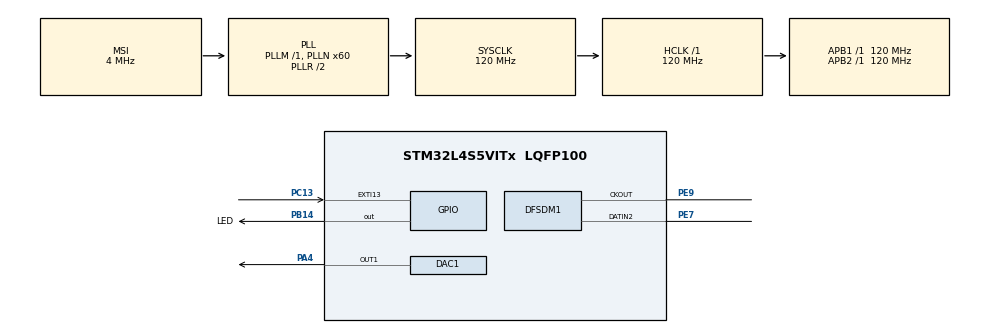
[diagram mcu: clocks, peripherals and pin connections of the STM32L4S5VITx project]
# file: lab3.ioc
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DAC1.DAC_Trigger-DAC_OUT1=DAC_TRIGGER_T2_TRGO
DFSDM1.Divider=50
DFSDM1.DmaMode_reg_FIL0=ENABLE
DFSDM1.FastMode_reg_FIL0=ENABLE
DFSDM1.Filter_regChannel_FIL0=DFSDM_CHANNEL_2
DFSDM1.Fosr_FIL0=120
Dma.DAC1_CH1.0.Direction=DMA_MEMORY_TO_PERIPH
Dma.DAC1_CH1.0.EventEnable=DISABLE
Dma.DAC1_CH1.0.Instance=DMA1_Channel1
Dma.DAC1_CH1.0.MemDataAlignment=DMA_MDATAALIGN_HALFWORD
Dma.DAC1_CH1.0.MemInc=DMA_MINC_ENABLE
Dma.DAC1_CH1.0.Mode=DMA_CIRCULAR
Dma.DAC1_CH1.0.PeriphDataAlignment=DMA_PDATAALIGN_HALFWORD
Dma.DAC1_CH1.0.PeriphInc=DMA_PINC_DISABLE
Dma.DAC1_CH1.0.Polarity=HAL_DMAMUX_REQUEST_GEN_RISING
Dma.DAC1_CH1.0.Priority=DMA_PRIORITY_LOW
Dma.DAC1_CH1.0.RequestNumber=1
Dma.DAC1_CH1.0.SignalID=NONE
Dma.DAC1_CH1.0.SyncEnable=DISABLE
Dma.DAC1_CH1.0.SyncPolarity=HAL_DMAMUX_SYNC_NO_EVENT
Dma.DAC1_CH1.0.SyncRequestNumber=1
Dma.DAC1_CH1.0.SyncSignalID=NONE
Dma.DFSDM1_FLT0.1.Direction=DMA_PERIPH_TO_MEMORY
Dma.DFSDM1_FLT0.1.EventEnable=DISABLE
Dma.DFSDM1_FLT0.1.Instance=DMA1_Channel2
Dma.DFSDM1_FLT0.1.MemDataAlignment=DMA_MDATAALIGN_WORD
Dma.DFSDM1_FLT0.1.MemInc=DMA_MINC_ENABLE
Dma.DFSDM1_FLT0.1.Mode=DMA_NORMAL
Dma.DFSDM1_FLT0.1.PeriphDataAlignment=DMA_PDATAALIGN_WORD
Dma.DFSDM1_FLT0.1.PeriphInc=DMA_PINC_DISABLE
Dma.DFSDM1_FLT0.1.Polarity=HAL_DMAMUX_REQUEST_GEN_RISING
Dma.DFSDM1_FLT0.1.Priority=DMA_PRIORITY_LOW
Dma.DFSDM1_FLT0.1.RequestNumber=1
Dma.DFSDM1_FLT0.1.SignalID=NONE
Dma.DFSDM1_FLT0.1.SyncEnable=DISABLE
Dma.DFSDM1_FLT0.1.SyncPolarity=HAL_DMAMUX_SYNC_NO_EVENT
Dma.DFSDM1_FLT0.1.SyncRequestNumber=1
Dma.DFSDM1_FLT0.1.SyncSignalID=NONE
Dma.Request0=DAC1_CH1
Dma.Request1=DFSDM1_FLT0
Mcu.Family=STM32L4
Mcu.Name=STM32L4S5VITx
Mcu.Package=LQFP100
NVIC.DMA1_Channel1_IRQn=true\:0\:0\:false\:false\:true\:false\:true\:true
NVIC.DMA1_Channel2_IRQn=true\:0\:0\:false\:false\:true\:false\:true\:true
NVIC.EXTI15_10_IRQn=true\:0\:0\:false\:false\:true\:true\:true\:true
NVIC.PriorityGroup=NVIC_PRIORITYGROUP_4
NVIC.TIM2_IRQn=true\:0\:0\:false\:false\:true\:true\:true\:true
NVIC.TIM3_IRQn=true\:0\:0\:false\:false\:true\:true\:true\:true
PA4.Signal=COMP_DAC11_group
PB14.GPIO_Label=LED
PB14.Signal=GPIO_Output
PB3\ (JTDO/TRACESWO).Signal=SYS_JTDO-SWO
PC13.Signal=GPXTI13
PE7.Signal=S_DATAIN2DFSDM1
PE9.Signal=S_CKOUTDFSDM1
ProjectManager.HeapSize=0x200
ProjectManager.StackSize=0x400
ProjectManager.TargetToolchain=STM32CubeIDE
RCC.ADCFreq_Value=48000000
RCC.AHBFreq_Value=120000000
RCC.APB1Freq_Value=120000000
RCC.APB1TimFreq_Value=120000000
RCC.APB2Freq_Value=120000000
RCC.APB2TimFreq_Value=120000000
RCC.CortexFreq_Value=120000000
RCC.HCLKFreq_Value=120000000
RCC.HSE_VALUE=8000000
RCC.HSI48_VALUE=48000000
RCC.HSI_VALUE=16000000
RCC.LSE_VALUE=32768
RCC.MSI_VALUE=4000000
RCC.PLLN=60
RCC.PLLSAI1N=24
RCC.SYSCLKFreq_VALUE=120000000
RCC.SYSCLKSource=RCC_SYSCLKSOURCE_PLLCLK
RCC.USBFreq_Value=48000000
RCC.VCOOutputFreq_Value=240000000
SH.COMP_DAC11_group.0=DAC1_OUT1,DAC_OUT1
SH.S_CKOUTDFSDM1.0=DFSDM1_CKOUT,PDM_SPI_input_from_ch2_and_internal_clock
SH.S_CKOUTDFSDM1.1=DFSDM1_CKOUT,CKOUT
SH.S_DATAIN2DFSDM1.0=DFSDM1_DATIN2,PDM_SPI_input_from_ch2_and_internal_clock
TIM2.Period=6000
TIM2.Prescaler=0
TIM2.TIM_MasterOutputTrigger=TIM_TRGO_UPDATE
TIM3.Period=60000
TIM3.Prescaler=500
VP_TIM2_VS_ClockSourceINT.Mode=Internal
VP_TIM3_VS_ClockSourceINT.Mode=Internal
board=B-L4S5I-IOT01A

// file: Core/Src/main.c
/* USER CODE BEGIN Header */
/**
  ******************************************************************************
  * @file           : main.c
  * @brief          : Main program body
  ******************************************************************************
  * @attention
  *
  * Copyright (c) 2025 STMicroelectronics.
  * All rights reserved.
  *
  * This software is licensed under terms that can be found in the LICENSE file
  * in the root directory of this software component.
  * If no LICENSE file comes with this software, it is provided AS-IS.
  *
  ******************************************************************************
  */
/* USER CODE END Header */
#include "main.h"

/* USER CODE BEGIN Includes */
#define ARM_MATH_CM4
#include "arm_math.h"
/* USER CODE END Includes */

DAC_HandleTypeDef hdac1;
DMA_HandleTypeDef hdma_dac1_ch1;

DFSDM_Filter_HandleTypeDef hdfsdm1_filter0;
DFSDM_Channel_HandleTypeDef hdfsdm1_channel2;
DMA_HandleTypeDef hdma_dfsdm1_flt0;

TIM_HandleTypeDef htim2;
TIM_HandleTypeDef htim3;

/* USER CODE BEGIN PV */
uint16_t  sin_Value = 0;
uint16_t sin_Array[500];
uint16_t c[19], d[17], e[15], f[14], g[12], a[11]; //note arrays
uint16_t i = 0;
uint32_t soundArray[40000];
uint16_t soundArrayPro[40000];

int l=0;  //state variable, if 1 we enter playback, if 0 we don't play anything
/* USER CODE END PV */

void SystemClock_Config(void);
static void MX_GPIO_Init(void);
static void MX_DMA_Init(void);
static void MX_TIM2_Init(void);
static void MX_DAC1_Init(void);
static void MX_DFSDM1_Init(void);
static void MX_TIM3_Init(void);

/* USER CODE BEGIN 0 */
/*void HAL_GPIO_EXTI_Callback (uint16_t GPIO_Pin) {
	//toggle pin
	HAL_GPIO_TogglePin(LED_GPIO_Port, LED_Pin); //code for part 1, not needed for part 4
}*/
void HAL_GPIO_EXTI_Callback (uint16_t GPIO_Pin) {
	l=0;
	 HAL_TIM_Base_Start_IT(&htim3);
	 HAL_DAC_Stop_DMA(&hdac1, DAC_CHANNEL_1);

	HAL_DFSDM_FilterRegularStart_DMA ( //start recording
			&hdfsdm1_filter0, (int32_t *) soundArray, 40000);
}

void HAL_DFSDM_FilterRegConvCpltCallback (DFSDM_Filter_HandleTypeDef * hdfsdm_filter){
	HAL_DFSDM_FilterRegularStop_DMA(&hdfsdm1_filter0);
	HAL_TIM_Base_Stop_IT(&htim3); //stop blinking
	HAL_GPIO_WritePin(LED_GPIO_Port, LED_Pin, GPIO_PIN_SET);
	for (int i=0; i< 40000; i++) {
		//right shift 8 bits since only left 24 bits are useful data. rescale the amplitude then make it positive (since DAC does not take negative values)
		int32_t sample = soundArray[i] >> 8;
		sample = sample / 16 + 2048;
		if (sample < 0) sample = 0;
		if (sample > 4095) sample = 4095;
		soundArrayPro[i] = (uint16_t)sample;
	}

	l = 1;
}

void HAL_TIM_PeriodElapsedCallback(TIM_HandleTypeDef * htim) {
//	i=(i+1)%500;
//	HAL_DAC_SetValue(&hdac1, DAC_CHANNEL_1, DAC_ALIGN_12B_R, sin_Array[i]); //code not relevant to part 4 is commented out

		if (htim == &htim3) HAL_GPIO_TogglePin(LED_GPIO_Port, LED_Pin);

}

/* USER CODE END 0 */

int main(void)
{
  /* USER CODE BEGIN 1 */

//	for (int i = 0; i < 500; i ++) {
//		  sin_Array[i] = (uint16_t) ( (arm_sin_f32( (float)sin_Value / 2000.0f * 2.0f * PI ) + 1.0f) * 2000.0f );
//
//		  sin_Value += 4;
//	}  code for part 2, not needed for part 4
		for (int i = 0; i < 19; i ++) { //note C4
				  c[i] = (uint16_t) ( (arm_sin_f32( (float)sin_Value / 76.0f * 2.0f * PI ) + 1.0f) * 2000.0f );

				  sin_Value += 4;
		}
		for (int i = 0; i < 17; i ++) {
					  d[i] = (uint16_t) ( (arm_sin_f32( (float)sin_Value / 68.0f * 2.0f * PI ) + 1.0f) * 2000.0f );
					  sin_Value += 4;
		}
		for (int i = 0; i < 15; i ++) {
				  e[i] = (uint16_t) ( (arm_sin_f32( (float)sin_Value / 60.0f * 2.0f * PI ) + 1.0f) * 2000.0f );
				  sin_Value += 4;
		}
		for (int i = 0; i < 14; i ++) {
					  f[i] = (uint16_t) ( (arm_sin_f32( (float)sin_Value / 56.0f * 2.0f * PI ) + 1.0f) * 2000.0f );
					  sin_Value += 4;
		}
		for (int i = 0; i < 12; i ++) {
				  g[i] = (uint16_t) ( (arm_sin_f32( (float)sin_Value / 48.0f * 2.0f * PI ) + 1.0f) * 2000.0f );
				  sin_Value += 4;
		}
		for (int i = 0; i < 11; i ++) {
				  a[i] = (uint16_t) ( (arm_sin_f32( (float)sin_Value / 44.0f * 2.0f * PI ) + 1.0f) * 2000.0f );
				  sin_Value += 4;
		}

  /* USER CODE END 1 */

  /* MCU Configuration--------------------------------------------------------*/

  /* Reset of all peripherals, Initializes the Flash interface and the Systick. */
  HAL_Init();

  /* Configure the system clock */
  SystemClock_Config();

  /* Initialize all configured peripherals */
  MX_GPIO_Init();
  MX_DMA_Init();
  MX_TIM2_Init();
  MX_DAC1_Init();
  MX_DFSDM1_Init();
  MX_TIM3_Init();
  /* USER CODE BEGIN 2 */
  //HAL_DAC_Start(&hdac1, DAC_CHANNEL_1);
//  HAL_DAC_Start_DMA(&hdac1, DAC_CHANNEL_1, (uint32_t*)sin_Array, 500, DAC_ALIGN_12B_R);
  HAL_TIM_Base_Start(&htim2);

  /* USER CODE END 2 */

  /* Infinite loop */
  while (1)
  {

    /* USER CODE BEGIN 3 */

	  	  			//play
	  if (l == 1) {

		 	HAL_DAC_Start_DMA(&hdac1, DAC_CHANNEL_1, (uint32_t*)soundArrayPro, 40000, DAC_ALIGN_12B_R);
		 	HAL_Delay(2000);
		 	HAL_DAC_Stop_DMA(&hdac1, DAC_CHANNEL_1);
		 	if (l==0) continue;
		 	HAL_DAC_Start_DMA(&hdac1, DAC_CHANNEL_1, (uint32_t*)c, 19, DAC_ALIGN_12B_R);
		 	HAL_Delay(1000); //allow the note to be played for 1 second
		 	HAL_DAC_Stop_DMA(&hdac1, DAC_CHANNEL_1);
		 	if (l==0) continue;
		 	HAL_DAC_Start_DMA(&hdac1, DAC_CHANNEL_1, (uint32_t*)d, 17, DAC_ALIGN_12B_R);
		 	HAL_Delay(1000);
		 	HAL_DAC_Stop_DMA(&hdac1, DAC_CHANNEL_1);
		 	if (l==0) continue;
		 	HAL_DAC_Start_DMA(&hdac1, DAC_CHANNEL_1, (uint32_t*)e, 15, DAC_ALIGN_12B_R);
		 	HAL_Delay(1000);
		 	HAL_DAC_Stop_DMA(&hdac1, DAC_CHANNEL_1);
		 	if (l==0) continue;
		 	HAL_DAC_Start_DMA(&hdac1, DAC_CHANNEL_1, (uint32_t*)f, 14, DAC_ALIGN_12B_R);
		 	HAL_Delay(1000);
		 	HAL_DAC_Stop_DMA(&hdac1, DAC_CHANNEL_1);
		 	if (l==0) continue;
		 	HAL_DAC_Start_DMA(&hdac1, DAC_CHANNEL_1, (uint32_t*)g, 12, DAC_ALIGN_12B_R);
		 	HAL_Delay(1000);
		 	HAL_DAC_Stop_DMA(&hdac1, DAC_CHANNEL_1);
		 	if (l==0) continue;
		 	HAL_DAC_Start_DMA(&hdac1, DAC_CHANNEL_1, (uint32_t*)a, 11, DAC_ALIGN_12B_R);
		 	HAL_Delay(1000);
		 	HAL_DAC_Stop_DMA(&hdac1, DAC_CHANNEL_1);

	 	  }
  }
  /* USER CODE END 3 */
}

void SystemClock_Config(void)
{
  RCC_OscInitTypeDef RCC_OscInitStruct = {0};
  RCC_ClkInitTypeDef RCC_ClkInitStruct = {0};

  /** Configure the main internal regulator output voltage
  */
  if (HAL_PWREx_ControlVoltageScaling(PWR_REGULATOR_VOLTAGE_SCALE1_BOOST) != HAL_OK)
  {
    Error_Handler();
  }

  /** Initializes the RCC Oscillators according to the specified parameters
  * in the RCC_OscInitTypeDef structure.
  */
  RCC_OscInitStruct.OscillatorType = RCC_OSCILLATORTYPE_MSI;
  RCC_OscInitStruct.MSIState = RCC_MSI_ON;
  RCC_OscInitStruct.MSICalibrationValue = 0;
  RCC_OscInitStruct.MSIClockRange = RCC_MSIRANGE_6;
  RCC_OscInitStruct.PLL.PLLState = RCC_PLL_ON;
  RCC_OscInitStruct.PLL.PLLSource = RCC_PLLSOURCE_MSI;
  RCC_OscInitStruct.PLL.PLLM = 1;
  RCC_OscInitStruct.PLL.PLLN = 60;
  RCC_OscInitStruct.PLL.PLLP = RCC_PLLP_DIV2;
  RCC_OscInitStruct.PLL.PLLQ = RCC_PLLQ_DIV2;
  RCC_OscInitStruct.PLL.PLLR = RCC_PLLR_DIV2;
  if (HAL_RCC_OscConfig(&RCC_OscInitStruct) != HAL_OK)
  {
    Error_Handler();
  }

  /** Initializes the CPU, AHB and APB buses clocks
  */
  RCC_ClkInitStruct.ClockType = RCC_CLOCKTYPE_HCLK|RCC_CLOCKTYPE_SYSCLK
                              |RCC_CLOCKTYPE_PCLK1|RCC_CLOCKTYPE_PCLK2;
  RCC_ClkInitStruct.SYSCLKSource = RCC_SYSCLKSOURCE_PLLCLK;
  RCC_ClkInitStruct.AHBCLKDivider = RCC_SYSCLK_DIV1;
  RCC_ClkInitStruct.APB1CLKDivider = RCC_HCLK_DIV1;
  RCC_ClkInitStruct.APB2CLKDivider = RCC_HCLK_DIV1;

  if (HAL_RCC_ClockConfig(&RCC_ClkInitStruct, FLASH_LATENCY_5) != HAL_OK)
  {
    Error_Handler();
  }
}

static void MX_DAC1_Init(void)
{

  DAC_ChannelConfTypeDef sConfig = {0};

  /** DAC Initialization
  */
  hdac1.Instance = DAC1;
  if (HAL_DAC_Init(&hdac1) != HAL_OK)
  {
    Error_Handler();
  }

  /** DAC channel OUT1 config
  */
  sConfig.DAC_SampleAndHold = DAC_SAMPLEANDHOLD_DISABLE;
  sConfig.DAC_Trigger = DAC_TRIGGER_T2_TRGO;
  sConfig.DAC_HighFrequency = DAC_HIGH_FREQUENCY_INTERFACE_MODE_ABOVE_80MHZ;
  sConfig.DAC_OutputBuffer = DAC_OUTPUTBUFFER_ENABLE;
  sConfig.DAC_ConnectOnChipPeripheral = DAC_CHIPCONNECT_DISABLE;
  sConfig.DAC_UserTrimming = DAC_TRIMMING_FACTORY;
  if (HAL_DAC_ConfigChannel(&hdac1, &sConfig, DAC_CHANNEL_1) != HAL_OK)
  {
    Error_Handler();
  }

}

static void MX_DFSDM1_Init(void)
{

  hdfsdm1_filter0.Instance = DFSDM1_Filter0;
  hdfsdm1_filter0.Init.RegularParam.Trigger = DFSDM_FILTER_SW_TRIGGER;
  hdfsdm1_filter0.Init.RegularParam.FastMode = ENABLE;
  hdfsdm1_filter0.Init.RegularParam.DmaMode = ENABLE;
  hdfsdm1_filter0.Init.FilterParam.SincOrder = DFSDM_FILTER_FASTSINC_ORDER;
  hdfsdm1_filter0.Init.FilterParam.Oversampling = 120;
  hdfsdm1_filter0.Init.FilterParam.IntOversampling = 1;
  if (HAL_DFSDM_FilterInit(&hdfsdm1_filter0) != HAL_OK)
  {
    Error_Handler();
  }
  hdfsdm1_channel2.Instance = DFSDM1_Channel2;
  hdfsdm1_channel2.Init.OutputClock.Activation = ENABLE;
  hdfsdm1_channel2.Init.OutputClock.Selection = DFSDM_CHANNEL_OUTPUT_CLOCK_SYSTEM;
  hdfsdm1_channel2.Init.OutputClock.Divider = 50;
  hdfsdm1_channel2.Init.Input.Multiplexer = DFSDM_CHANNEL_EXTERNAL_INPUTS;
  hdfsdm1_channel2.Init.Input.DataPacking = DFSDM_CHANNEL_STANDARD_MODE;
  hdfsdm1_channel2.Init.Input.Pins = DFSDM_CHANNEL_SAME_CHANNEL_PINS;
  hdfsdm1_channel2.Init.SerialInterface.Type = DFSDM_CHANNEL_SPI_RISING;
  hdfsdm1_channel2.Init.SerialInterface.SpiClock = DFSDM_CHANNEL_SPI_CLOCK_INTERNAL;
  hdfsdm1_channel2.Init.Awd.FilterOrder = DFSDM_CHANNEL_FASTSINC_ORDER;
  hdfsdm1_channel2.Init.Awd.Oversampling = 1;
  hdfsdm1_channel2.Init.Offset = 0;
  hdfsdm1_channel2.Init.RightBitShift = 0x00;
  if (HAL_DFSDM_ChannelInit(&hdfsdm1_channel2) != HAL_OK)
  {
    Error_Handler();
  }
  if (HAL_DFSDM_FilterConfigRegChannel(&hdfsdm1_filter0, DFSDM_CHANNEL_2, DFSDM_CONTINUOUS_CONV_ON) != HAL_OK)
  {
    Error_Handler();
  }

}

static void MX_TIM2_Init(void)
{

  TIM_ClockConfigTypeDef sClockSourceConfig = {0};
  TIM_MasterConfigTypeDef sMasterConfig = {0};

  htim2.Instance = TIM2;
  htim2.Init.Prescaler = 0;
  htim2.Init.CounterMode = TIM_COUNTERMODE_UP;
  htim2.Init.Period = 6000;
  htim2.Init.ClockDivision = TIM_CLOCKDIVISION_DIV1;
  htim2.Init.AutoReloadPreload = TIM_AUTORELOAD_PRELOAD_DISABLE;
  if (HAL_TIM_Base_Init(&htim2) != HAL_OK)
  {
    Error_Handler();
  }
  sClockSourceConfig.ClockSource = TIM_CLOCKSOURCE_INTERNAL;
  if (HAL_TIM_ConfigClockSource(&htim2, &sClockSourceConfig) != HAL_OK)
  {
    Error_Handler();
  }
  sMasterConfig.MasterOutputTrigger = TIM_TRGO_UPDATE;
  sMasterConfig.MasterSlaveMode = TIM_MASTERSLAVEMODE_DISABLE;
  if (HAL_TIMEx_MasterConfigSynchronization(&htim2, &sMasterConfig) != HAL_OK)
  {
    Error_Handler();
  }

}

static void MX_TIM3_Init(void)
{

  TIM_ClockConfigTypeDef sClockSourceConfig = {0};
  TIM_MasterConfigTypeDef sMasterConfig = {0};

  htim3.Instance = TIM3;
  htim3.Init.Prescaler = 500;
  htim3.Init.CounterMode = TIM_COUNTERMODE_UP;
  htim3.Init.Period = 60000;
  htim3.Init.ClockDivision = TIM_CLOCKDIVISION_DIV1;
  htim3.Init.AutoReloadPreload = TIM_AUTORELOAD_PRELOAD_DISABLE;
  if (HAL_TIM_Base_Init(&htim3) != HAL_OK)
  {
    Error_Handler();
  }
  sClockSourceConfig.ClockSource = TIM_CLOCKSOURCE_INTERNAL;
  if (HAL_TIM_ConfigClockSource(&htim3, &sClockSourceConfig) != HAL_OK)
  {
    Error_Handler();
  }
  sMasterConfig.MasterOutputTrigger = TIM_TRGO_RESET;
  sMasterConfig.MasterSlaveMode = TIM_MASTERSLAVEMODE_DISABLE;
  if (HAL_TIMEx_MasterConfigSynchronization(&htim3, &sMasterConfig) != HAL_OK)
  {
    Error_Handler();
  }

}

static void MX_DMA_Init(void)
{

  /* DMA controller clock enable */
  __HAL_RCC_DMAMUX1_CLK_ENABLE();
  __HAL_RCC_DMA1_CLK_ENABLE();

  /* DMA interrupt init */
  /* DMA1_Channel1_IRQn interrupt configuration */
  HAL_NVIC_SetPriority(DMA1_Channel1_IRQn, 0, 0);
  HAL_NVIC_EnableIRQ(DMA1_Channel1_IRQn);
  /* DMA1_Channel2_IRQn interrupt configuration */
  HAL_NVIC_SetPriority(DMA1_Channel2_IRQn, 0, 0);
  HAL_NVIC_EnableIRQ(DMA1_Channel2_IRQn);

}

static void MX_GPIO_Init(void)
{
  GPIO_InitTypeDef GPIO_InitStruct = {0};

  /* GPIO Ports Clock Enable */
  __HAL_RCC_GPIOC_CLK_ENABLE();
  __HAL_RCC_GPIOA_CLK_ENABLE();
  __HAL_RCC_GPIOE_CLK_ENABLE();
  __HAL_RCC_GPIOB_CLK_ENABLE();

  /*Configure GPIO pin Output Level */
  HAL_GPIO_WritePin(LED_GPIO_Port, LED_Pin, GPIO_PIN_RESET);

  /*Configure GPIO pin : PC13 */
  GPIO_InitStruct.Pin = GPIO_PIN_13;
  GPIO_InitStruct.Mode = GPIO_MODE_IT_RISING;
  GPIO_InitStruct.Pull = GPIO_NOPULL;
  HAL_GPIO_Init(GPIOC, &GPIO_InitStruct);

  /*Configure GPIO pin : LED_Pin */
  GPIO_InitStruct.Pin = LED_Pin;
  GPIO_InitStruct.Mode = GPIO_MODE_OUTPUT_PP;
  GPIO_InitStruct.Pull = GPIO_NOPULL;
  GPIO_InitStruct.Speed = GPIO_SPEED_FREQ_LOW;
  HAL_GPIO_Init(LED_GPIO_Port, &GPIO_InitStruct);

  /* EXTI interrupt init*/
  HAL_NVIC_SetPriority(EXTI15_10_IRQn, 0, 0);
  HAL_NVIC_EnableIRQ(EXTI15_10_IRQn);

}

void Error_Handler(void)
{
  __disable_irq();
  while (1)
  {
  }
}
